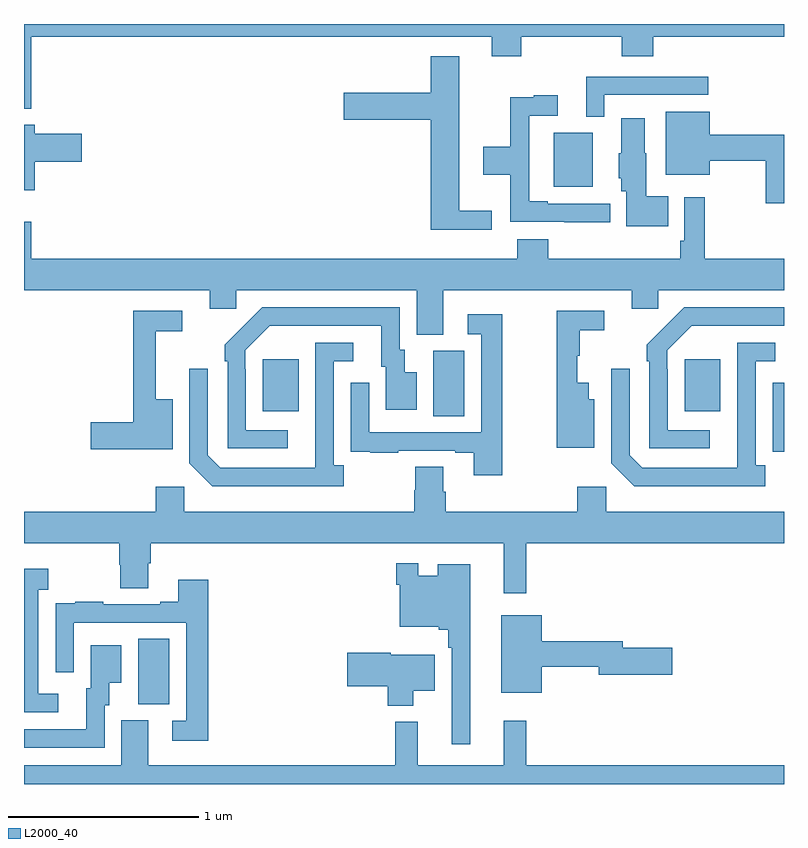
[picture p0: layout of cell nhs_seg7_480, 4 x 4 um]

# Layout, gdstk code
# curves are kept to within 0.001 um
import gdstk
lib = gdstk.Library(unit=1e-6, precision=1e-09)
def R(c, l, rs):  # rectangles x0, y0, x1, y1
    for r in rs: c.add(gdstk.rectangle(r[:2], r[2:], *l))
def P(c, l, *ps):  # polygons
    for p in ps: c.add(gdstk.Polygon(p, *l))
L2000_40 = (2000, 40)

nhs_seg7_480 = lib.new_cell('nhs_seg7_480')
R(nhs_seg7_480, L2000_40, [(149.6,1014.421,149.764,1014.764), (151.154,1015.936,151.318,1016.28), (150.257,1015.961,150.445,1016.236), (152.477,1015.961,152.665,1016.236), (151.787,1017.143,151.993,1017.427)])
P(nhs_seg7_480, L2000_40, [(149.039,1017.932),(151.463,1017.932),(151.463,1017.83),(151.616,1017.83),(151.616,1017.932),(152.147,1017.932),(152.147,1017.83),(152.312,1017.83),(152.312,1017.932),(153,1017.932),(153,1018),(149,1018),(149,1017.554),(149.039,1017.554)],
  [(151.462,1017.017),(151.291,1017.017),(151.291,1017.829),(151.142,1017.829),(151.142,1017.639),(150.684,1017.639),(150.684,1017.497),(151.142,1017.497),(151.142,1016.918),(151.462,1016.918)],
  [(152.055,1017.627),(152.602,1017.627),(152.602,1017.723),(151.958,1017.723),(151.958,1017.512),(152.055,1017.512)],
  [(152.086,1017.054),(151.756,1017.054),(151.756,1017.067),(151.659,1017.067),(151.659,1017.516),(151.81,1017.516),(151.81,1017.625),(151.682,1017.625),(151.682,1017.614),(151.558,1017.614),(151.558,1017.354),(151.416,1017.354),(151.416,1017.206),(151.558,1017.206),(151.558,1016.958),(151.843,1016.958),(151.843,1016.957),(152.086,1016.957)],
  [(153,1017.416),(152.608,1017.416),(152.608,1017.538),(152.378,1017.538),(152.378,1017.206),(152.608,1017.206),(152.608,1017.28),(152.905,1017.28),(152.905,1017.057),(153,1017.057)],
  [(152.39,1017.094),(152.275,1017.094),(152.275,1017.321),(152.266,1017.321),(152.266,1017.505),(152.144,1017.505),(152.144,1017.321),(152.129,1017.321),(152.129,1017.189),(152.144,1017.189),(152.144,1017.12),(152.171,1017.12),(152.171,1016.936),(152.39,1016.936)],
  [(149.056,1017.275),(149.305,1017.275),(149.305,1017.422),(149.056,1017.422),(149.056,1017.469),(149,1017.469),(149,1017.126),(149.056,1017.126)],
  [(151.207,1016.6),(152.198,1016.6),(152.198,1016.502),(152.337,1016.502),(152.337,1016.6),(153,1016.6),(153,1016.764),(152.584,1016.764),(152.584,1017.088),(152.475,1017.088),(152.475,1016.86),(152.455,1016.86),(152.455,1016.764),(151.76,1016.764),(151.76,1016.866),(151.595,1016.866),(151.595,1016.764),(149.039,1016.764),(149.039,1016.959),(149,1016.959),(149,1016.6),(149.978,1016.6),(149.978,1016.502),(150.117,1016.502),(150.117,1016.6),(151.067,1016.6),(151.067,1016.365),(151.207,1016.365)],
  [(150.388,1015.863),(150.168,1015.863),(150.168,1016.183),(150.165,1016.183),(150.165,1016.283),(150.294,1016.412),(150.881,1016.412),(150.881,1016.196),(150.905,1016.196),(150.905,1015.971),(151.066,1015.971),(151.066,1016.167),(151.003,1016.167),(151.003,1016.286),(150.978,1016.286),(150.978,1016.508),(150.254,1016.508),(150.057,1016.313),(150.057,1016.225),(150.072,1016.225),(150.072,1015.767),(150.388,1015.767)],
  [(152.608,1015.863),(152.388,1015.863),(152.388,1016.183),(152.385,1016.183),(152.385,1016.283),(152.514,1016.412),(153,1016.412),(153,1016.508),(152.474,1016.508),(152.277,1016.313),(152.277,1016.225),(152.292,1016.225),(152.292,1015.767),(152.608,1015.767)],
  [(149.782,1016.026),(149.693,1016.026),(149.693,1016.382),(149.833,1016.382),(149.833,1016.49),(149.575,1016.49),(149.575,1015.904),(149.352,1015.904),(149.352,1015.762),(149.782,1015.762)],
  [(152.002,1016.026),(151.972,1016.026),(151.972,1016.113),(151.913,1016.113),(151.913,1016.253),(151.924,1016.253),(151.924,1016.389),(152.053,1016.389),(152.053,1016.49),(151.803,1016.49),(151.803,1015.769),(152.002,1015.769)],
  [(151.516,1016.473),(151.335,1016.473),(151.335,1016.367),(151.407,1016.367),(151.407,1015.851),(150.816,1015.851),(150.816,1016.113),(150.72,1016.113),(150.72,1015.858),(150.721,1015.858),(150.721,1015.749),(150.823,1015.749),(150.823,1015.743),(150.971,1015.743),(150.971,1015.755),(151.271,1015.755),(151.271,1015.743),(151.367,1015.743),(151.367,1015.626),(151.516,1015.626)],
  [(152.902,1015.678),(152.85,1015.678),(152.85,1016.226),(152.953,1016.226),(152.953,1016.322),(152.754,1016.322),(152.753,1015.665),(152.253,1015.665),(152.187,1015.731),(152.187,1016.185),(152.091,1016.185),(152.091,1015.689),(152.212,1015.568),(152.902,1015.568)],
  [(150.682,1015.678),(150.63,1015.678),(150.63,1016.226),(150.733,1016.226),(150.733,1016.322),(150.534,1016.322),(150.533,1015.665),(150.033,1015.665),(149.967,1015.731),(149.967,1016.185),(149.871,1016.185),(149.871,1015.689),(149.992,1015.568),(150.682,1015.568)],
  [(153,1016.113),(152.94,1016.113),(152.94,1015.858),(152.941,1015.858),(152.941,1015.749),(153,1015.749)],
  [(151.643,1015.268),(153,1015.268),(153,1015.432),(152.064,1015.432),(152.064,1015.564),(151.913,1015.564),(151.913,1015.432),(151.22,1015.432),(151.22,1015.538),(151.207,1015.538),(151.207,1015.67),(151.06,1015.67),(151.06,1015.545),(151.055,1015.545),(151.055,1015.432),(149.844,1015.432),(149.844,1015.564),(149.693,1015.564),(149.693,1015.432),(149,1015.432),(149,1015.268),(149.501,1015.268),(149.501,1015.155),(149.506,1015.155),(149.506,1015.03),(149.653,1015.03),(149.653,1015.162),(149.666,1015.162),(149.666,1015.268),(151.526,1015.268),(151.526,1015.005),(151.643,1015.005)],
  [(151.348,1015.156),(151.178,1015.156),(151.178,1015.096),(151.074,1015.096),(151.074,1015.162),(150.958,1015.162),(150.958,1015.049),(150.978,1015.049),(150.978,1014.827),(151.182,1014.827),(151.182,1014.812),(151.233,1014.812),(151.233,1014.716),(151.251,1014.716),(151.251,1014.21),(151.348,1014.21)],
  [(149.179,1014.474),(149.076,1014.474),(149.076,1015.022),(149.128,1015.022),(149.128,1015.132),(149,1015.132),(149,1014.378),(149.179,1014.378)],
  [(149.969,1015.075),(149.813,1015.075),(149.813,1014.958),(149.717,1014.958),(149.717,1014.945),(149.417,1014.945),(149.417,1014.958),(149.269,1014.958),(149.269,1014.951),(149.167,1014.951),(149.167,1014.842),(149.166,1014.842),(149.166,1014.588),(149.262,1014.588),(149.262,1014.849),(149.853,1014.849),(149.853,1014.333),(149.781,1014.333),(149.781,1014.228),(149.969,1014.228)],
  [(151.726,1014.616),(152.024,1014.616),(152.024,1014.574),(152.413,1014.574),(152.413,1014.716),(152.152,1014.716),(152.152,1014.752),(151.726,1014.752),(151.726,1014.889),(151.511,1014.889),(151.511,1014.479),(151.726,1014.479)],
  [(149.424,1014.414),(149.449,1014.414),(149.449,1014.533),(149.512,1014.533),(149.512,1014.73),(149.351,1014.73),(149.351,1014.504),(149.327,1014.504),(149.327,1014.288),(149,1014.288),(149,1014.192),(149.424,1014.192)],
  [(151.048,1014.491),(151.162,1014.491),(151.162,1014.679),(150.93,1014.679),(150.93,1014.692),(150.702,1014.692),(150.702,1014.514),(150.914,1014.514),(150.914,1014.413),(151.048,1014.413)],
  [(153,1014.1),(151.643,1014.1),(151.643,1014.334),(151.526,1014.334),(151.526,1014.1),(151.073,1014.1),(151.073,1014.328),(150.955,1014.328),(150.955,1014.1),(149.653,1014.1),(149.653,1014.336),(149.513,1014.336),(149.513,1014.1),(149,1014.1),(149,1014),(153,1014)])

lib.write_gds('nhs_seg7_480.gds')
